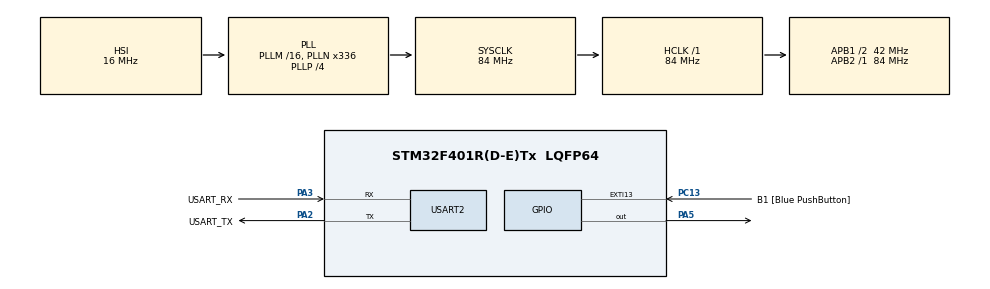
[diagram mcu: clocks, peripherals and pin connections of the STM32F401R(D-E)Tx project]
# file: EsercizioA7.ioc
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ADC1.Channel-0\#ChannelRegularConversion=ADC_CHANNEL_TEMPSENSOR
ADC1.DMAContinuousRequests=ENABLE
ADC1.ExternalTrigConv=ADC_EXTERNALTRIGCONV_T2_TRGO
ADC1.NbrOfConversion=1
ADC1.NbrOfConversionFlag=1
ADC1.Rank-0\#ChannelRegularConversion=1
ADC1.SamplingTime-0\#ChannelRegularConversion=ADC_SAMPLETIME_480CYCLES
ADC1.ScanConvMode=ENABLE
ADC1.master=1
Dma.ADC1.1.Direction=DMA_PERIPH_TO_MEMORY
Dma.ADC1.1.FIFOMode=DMA_FIFOMODE_DISABLE
Dma.ADC1.1.Instance=DMA2_Stream0
Dma.ADC1.1.MemDataAlignment=DMA_MDATAALIGN_HALFWORD
Dma.ADC1.1.MemInc=DMA_MINC_ENABLE
Dma.ADC1.1.Mode=DMA_CIRCULAR
Dma.ADC1.1.PeriphDataAlignment=DMA_PDATAALIGN_HALFWORD
Dma.ADC1.1.PeriphInc=DMA_PINC_DISABLE
Dma.ADC1.1.Priority=DMA_PRIORITY_HIGH
Dma.Request0=USART2_TX
Dma.Request1=ADC1
Dma.USART2_TX.0.Direction=DMA_MEMORY_TO_PERIPH
Dma.USART2_TX.0.FIFOMode=DMA_FIFOMODE_DISABLE
Dma.USART2_TX.0.Instance=DMA1_Stream6
Dma.USART2_TX.0.MemDataAlignment=DMA_MDATAALIGN_BYTE
Dma.USART2_TX.0.MemInc=DMA_MINC_ENABLE
Dma.USART2_TX.0.Mode=DMA_NORMAL
Dma.USART2_TX.0.PeriphDataAlignment=DMA_PDATAALIGN_BYTE
Dma.USART2_TX.0.PeriphInc=DMA_PINC_DISABLE
Dma.USART2_TX.0.Priority=DMA_PRIORITY_HIGH
Mcu.Family=STM32F4
Mcu.Name=STM32F401R(D-E)Tx
Mcu.Package=LQFP64
NVIC.DMA1_Stream6_IRQn=true\:0\:0\:false\:false\:true\:false\:true\:true
NVIC.DMA2_Stream0_IRQn=true\:0\:0\:false\:false\:true\:false\:true\:true
NVIC.PriorityGroup=NVIC_PRIORITYGROUP_4
NVIC.TIM2_IRQn=true\:0\:0\:false\:false\:true\:true\:true\:true
NVIC.TIM3_IRQn=true\:0\:0\:false\:false\:true\:true\:true\:true
NVIC.USART2_IRQn=true\:0\:0\:false\:false\:true\:true\:true\:true
PA1.Signal=ADCx_IN1
PA13.GPIO_Label=TMS
PA13.Mode=Trace_Asynchronous_SW
PA13.Signal=SYS_JTMS-SWDIO
PA14.GPIO_Label=TCK
PA14.Mode=Trace_Asynchronous_SW
PA14.Signal=SYS_JTCK-SWCLK
PA2.GPIO_Label=USART_TX
PA2.GPIO_Mode=GPIO_MODE_AF_PP
PA2.GPIO_PuPd=GPIO_NOPULL
PA2.GPIO_Speed=GPIO_SPEED_FREQ_LOW
PA2.Mode=Asynchronous
PA2.Signal=USART2_TX
PA3.GPIO_Label=USART_RX
PA3.GPIO_Mode=GPIO_MODE_AF_PP
PA3.GPIO_PuPd=GPIO_NOPULL
PA3.GPIO_Speed=GPIO_SPEED_FREQ_LOW
PA3.Mode=Asynchronous
PA3.Signal=USART2_RX
PA5.Signal=GPIO_Output
PB3.GPIO_Label=SWO
PB3.Mode=Trace_Asynchronous_SW
PB3.Signal=SYS_JTDO-SWO
PC13-ANTI_TAMP.GPIO_Label=B1 [Blue PushButton]
PC13-ANTI_TAMP.GPIO_ModeDefaultEXTI=GPIO_MODE_IT_FALLING
PC13-ANTI_TAMP.GPIO_PuPd=GPIO_NOPULL
PC13-ANTI_TAMP.Signal=GPXTI13
PC14-OSC32_IN.Mode=LSE-External-Oscillator
PC14-OSC32_IN.Signal=RCC_OSC32_IN
PC15-OSC32_OUT.Mode=LSE-External-Oscillator
PC15-OSC32_OUT.Signal=RCC_OSC32_OUT
PH0\ -\ OSC_IN.Mode=HSE-External-Clock-Source
PH0\ -\ OSC_IN.Signal=RCC_OSC_IN
PH1\ -\ OSC_OUT.Mode=HSE-External-Clock-Source
PH1\ -\ OSC_OUT.Signal=RCC_OSC_OUT
ProjectManager.HeapSize=0x200
ProjectManager.StackSize=0x400
ProjectManager.TargetToolchain=STM32CubeIDE
RCC.48MHZClocksFreq_Value=48000000
RCC.AHBFreq_Value=84000000
RCC.APB1CLKDivider=RCC_HCLK_DIV2
RCC.APB1Freq_Value=42000000
RCC.APB1TimFreq_Value=84000000
RCC.APB2Freq_Value=84000000
RCC.APB2TimFreq_Value=84000000
RCC.CortexFreq_Value=84000000
RCC.HCLKFreq_Value=84000000
RCC.HSE_VALUE=8000000
RCC.HSI_VALUE=16000000
RCC.PLLN=336
RCC.PLLP=RCC_PLLP_DIV4
RCC.PLLQ=7
RCC.SYSCLKFreq_VALUE=84000000
RCC.SYSCLKSource=RCC_SYSCLKSOURCE_PLLCLK
RCC.VCOOutputFreq_Value=336000000
SH.ADCx_IN1.0=ADC1_IN1
TIM2.Period=839999
TIM2.Prescaler=99
TIM2.TIM_MasterOutputTrigger=TIM_TRGO_UPDATE
TIM3.Period=8399
TIM3.Prescaler=9999
USART2.VirtualMode=VM_ASYNC
VP_ADC1_TempSens_Input.Mode=IN-TempSens
VP_TIM2_VS_ClockSourceINT.Mode=Internal
VP_TIM3_VS_ClockSourceINT.Mode=Internal
board=NUCLEO-F401RE

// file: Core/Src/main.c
/* USER CODE BEGIN Header */
/**
  ******************************************************************************
  * @file           : main.c
  * @brief          : Main program body
  ******************************************************************************
  * @attention
  *
  * Copyright (c) 2026 STMicroelectronics.
  * All rights reserved.
  *
  * This software is licensed under terms that can be found in the LICENSE file
  * in the root directory of this software component.
  * If no LICENSE file comes with this software, it is provided AS-IS.
  *
  ******************************************************************************
  */
/* USER CODE END Header */
#include "main.h"

/* USER CODE BEGIN Includes */
#include "stdio.h"
#include "string.h"

/* USER CODE END Includes */

ADC_HandleTypeDef hadc1;
DMA_HandleTypeDef hdma_adc1;

TIM_HandleTypeDef htim2;
TIM_HandleTypeDef htim3;

UART_HandleTypeDef huart2;
DMA_HandleTypeDef hdma_usart2_tx;

/* USER CODE BEGIN PV */
uint16_t adc_buf;

float v_temp_sense = 0.0f;
float temperature = 0.0f;

uint8_t tx_buf[64];
int len;

int counter=0;
float t_avg=0.0f;
int threshold=0;

/* USER CODE END PV */

void SystemClock_Config(void);
static void MX_GPIO_Init(void);
static void MX_DMA_Init(void);
static void MX_USART2_UART_Init(void);
static void MX_ADC1_Init(void);
static void MX_TIM2_Init(void);
static void MX_TIM3_Init(void);

/* USER CODE BEGIN 0 */
void HAL_ADC_ConvCpltCallback(ADC_HandleTypeDef *hadc)
{
    // Il Trigger (Timer 2 a 1Hz) avvia la conversione ogni secondo
	// Quando arriva l'EoC aggiorniamo i valori

	v_temp_sense = ((float)adc_buf * 3.3f) / 4095.0f;

	temperature = ((v_temp_sense - 0.76f) / 0.0025f) + 25.0f;

	t_avg+=temperature;
	counter++;

	if(counter==5){
		counter=0;
		t_avg=t_avg/5.0f;
		len = sprintf((char*)tx_buf, "Average: %.1fC\r\n", t_avg);
		HAL_UART_Transmit_DMA(&huart2, tx_buf, len);
		t_avg=0;
		if(temperature>(t_avg+0.5f)){
			threshold=1;
		}else{
			threshold=0;
			HAL_GPIO_WritePin(GPIOA, GPIO_PIN_5, GPIO_PIN_RESET);
		}

	}else{
		// E li inviamo
		len = sprintf((char*)tx_buf, "Temp: %.1fC\r\n", temperature);
		HAL_UART_Transmit_DMA(&huart2, tx_buf, len);
	}
}

void HAL_TIM_PeriodElapsedCallback(TIM_HandleTypeDef *htim)
{
    if (htim->Instance == TIM3) {
        if(threshold){
        	HAL_GPIO_TogglePin(GPIOA, GPIO_PIN_5);
        }
    }
}

/* USER CODE END 0 */

int main(void)
{

  /* MCU Configuration--------------------------------------------------------*/

  /* Reset of all peripherals, Initializes the Flash interface and the Systick. */
  HAL_Init();

  /* Configure the system clock */
  SystemClock_Config();

  /* Initialize all configured peripherals */
  MX_GPIO_Init();
  MX_DMA_Init();
  MX_USART2_UART_Init();
  MX_ADC1_Init();
  MX_TIM2_Init();
  MX_TIM3_Init();
  /* USER CODE BEGIN 2 */
  HAL_TIM_Base_Start(&htim2); // Timer 2 (Trigger ADC)
  HAL_ADC_Start_DMA(&hadc1, (uint32_t*)&adc_buf, 1);   // ADC (DMA Mode), buffer da 1 campione
  HAL_TIM_Base_Start_IT(&htim3); // Timer 3 (Toggle Led)

  /* USER CODE END 2 */

  /* Infinite loop */
  while (1)
  {

  }
}

void SystemClock_Config(void)
{
  RCC_OscInitTypeDef RCC_OscInitStruct = {0};
  RCC_ClkInitTypeDef RCC_ClkInitStruct = {0};

  /** Configure the main internal regulator output voltage
  */
  __HAL_RCC_PWR_CLK_ENABLE();
  __HAL_PWR_VOLTAGESCALING_CONFIG(PWR_REGULATOR_VOLTAGE_SCALE2);

  /** Initializes the RCC Oscillators according to the specified parameters
  * in the RCC_OscInitTypeDef structure.
  */
  RCC_OscInitStruct.OscillatorType = RCC_OSCILLATORTYPE_HSI;
  RCC_OscInitStruct.HSIState = RCC_HSI_ON;
  RCC_OscInitStruct.HSICalibrationValue = RCC_HSICALIBRATION_DEFAULT;
  RCC_OscInitStruct.PLL.PLLState = RCC_PLL_ON;
  RCC_OscInitStruct.PLL.PLLSource = RCC_PLLSOURCE_HSI;
  RCC_OscInitStruct.PLL.PLLM = 16;
  RCC_OscInitStruct.PLL.PLLN = 336;
  RCC_OscInitStruct.PLL.PLLP = RCC_PLLP_DIV4;
  RCC_OscInitStruct.PLL.PLLQ = 7;
  if (HAL_RCC_OscConfig(&RCC_OscInitStruct) != HAL_OK)
  {
    Error_Handler();
  }

  /** Initializes the CPU, AHB and APB buses clocks
  */
  RCC_ClkInitStruct.ClockType = RCC_CLOCKTYPE_HCLK|RCC_CLOCKTYPE_SYSCLK
                              |RCC_CLOCKTYPE_PCLK1|RCC_CLOCKTYPE_PCLK2;
  RCC_ClkInitStruct.SYSCLKSource = RCC_SYSCLKSOURCE_PLLCLK;
  RCC_ClkInitStruct.AHBCLKDivider = RCC_SYSCLK_DIV1;
  RCC_ClkInitStruct.APB1CLKDivider = RCC_HCLK_DIV2;
  RCC_ClkInitStruct.APB2CLKDivider = RCC_HCLK_DIV1;

  if (HAL_RCC_ClockConfig(&RCC_ClkInitStruct, FLASH_LATENCY_2) != HAL_OK)
  {
    Error_Handler();
  }
}

static void MX_ADC1_Init(void)
{

  ADC_ChannelConfTypeDef sConfig = {0};

  /** Configure the global features of the ADC (Clock, Resolution, Data Alignment and number of conversion)
  */
  hadc1.Instance = ADC1;
  hadc1.Init.ClockPrescaler = ADC_CLOCK_SYNC_PCLK_DIV4;
  hadc1.Init.Resolution = ADC_RESOLUTION_12B;
  hadc1.Init.ScanConvMode = ENABLE;
  hadc1.Init.ContinuousConvMode = DISABLE;
  hadc1.Init.DiscontinuousConvMode = DISABLE;
  hadc1.Init.ExternalTrigConvEdge = ADC_EXTERNALTRIGCONVEDGE_RISING;
  hadc1.Init.ExternalTrigConv = ADC_EXTERNALTRIGCONV_T2_TRGO;
  hadc1.Init.DataAlign = ADC_DATAALIGN_RIGHT;
  hadc1.Init.NbrOfConversion = 1;
  hadc1.Init.DMAContinuousRequests = ENABLE;
  hadc1.Init.EOCSelection = ADC_EOC_SINGLE_CONV;
  if (HAL_ADC_Init(&hadc1) != HAL_OK)
  {
    Error_Handler();
  }

  /** Configure for the selected ADC regular channel its corresponding rank in the sequencer and its sample time.
  */
  sConfig.Channel = ADC_CHANNEL_TEMPSENSOR;
  sConfig.Rank = 1;
  sConfig.SamplingTime = ADC_SAMPLETIME_480CYCLES;
  if (HAL_ADC_ConfigChannel(&hadc1, &sConfig) != HAL_OK)
  {
    Error_Handler();
  }

}

static void MX_TIM2_Init(void)
{

  TIM_ClockConfigTypeDef sClockSourceConfig = {0};
  TIM_MasterConfigTypeDef sMasterConfig = {0};

  htim2.Instance = TIM2;
  htim2.Init.Prescaler = 99;
  htim2.Init.CounterMode = TIM_COUNTERMODE_UP;
  htim2.Init.Period = 839999;
  htim2.Init.ClockDivision = TIM_CLOCKDIVISION_DIV1;
  htim2.Init.AutoReloadPreload = TIM_AUTORELOAD_PRELOAD_DISABLE;
  if (HAL_TIM_Base_Init(&htim2) != HAL_OK)
  {
    Error_Handler();
  }
  sClockSourceConfig.ClockSource = TIM_CLOCKSOURCE_INTERNAL;
  if (HAL_TIM_ConfigClockSource(&htim2, &sClockSourceConfig) != HAL_OK)
  {
    Error_Handler();
  }
  sMasterConfig.MasterOutputTrigger = TIM_TRGO_UPDATE;
  sMasterConfig.MasterSlaveMode = TIM_MASTERSLAVEMODE_DISABLE;
  if (HAL_TIMEx_MasterConfigSynchronization(&htim2, &sMasterConfig) != HAL_OK)
  {
    Error_Handler();
  }

}

static void MX_TIM3_Init(void)
{

  TIM_ClockConfigTypeDef sClockSourceConfig = {0};
  TIM_MasterConfigTypeDef sMasterConfig = {0};

  htim3.Instance = TIM3;
  htim3.Init.Prescaler = 9999;
  htim3.Init.CounterMode = TIM_COUNTERMODE_UP;
  htim3.Init.Period = 8399;
  htim3.Init.ClockDivision = TIM_CLOCKDIVISION_DIV1;
  htim3.Init.AutoReloadPreload = TIM_AUTORELOAD_PRELOAD_DISABLE;
  if (HAL_TIM_Base_Init(&htim3) != HAL_OK)
  {
    Error_Handler();
  }
  sClockSourceConfig.ClockSource = TIM_CLOCKSOURCE_INTERNAL;
  if (HAL_TIM_ConfigClockSource(&htim3, &sClockSourceConfig) != HAL_OK)
  {
    Error_Handler();
  }
  sMasterConfig.MasterOutputTrigger = TIM_TRGO_RESET;
  sMasterConfig.MasterSlaveMode = TIM_MASTERSLAVEMODE_DISABLE;
  if (HAL_TIMEx_MasterConfigSynchronization(&htim3, &sMasterConfig) != HAL_OK)
  {
    Error_Handler();
  }

}

static void MX_USART2_UART_Init(void)
{

  huart2.Instance = USART2;
  huart2.Init.BaudRate = 115200;
  huart2.Init.WordLength = UART_WORDLENGTH_8B;
  huart2.Init.StopBits = UART_STOPBITS_1;
  huart2.Init.Parity = UART_PARITY_NONE;
  huart2.Init.Mode = UART_MODE_TX_RX;
  huart2.Init.HwFlowCtl = UART_HWCONTROL_NONE;
  huart2.Init.OverSampling = UART_OVERSAMPLING_16;
  if (HAL_UART_Init(&huart2) != HAL_OK)
  {
    Error_Handler();
  }

}

static void MX_DMA_Init(void)
{

  /* DMA controller clock enable */
  __HAL_RCC_DMA1_CLK_ENABLE();
  __HAL_RCC_DMA2_CLK_ENABLE();

  /* DMA interrupt init */
  /* DMA1_Stream6_IRQn interrupt configuration */
  HAL_NVIC_SetPriority(DMA1_Stream6_IRQn, 0, 0);
  HAL_NVIC_EnableIRQ(DMA1_Stream6_IRQn);
  /* DMA2_Stream0_IRQn interrupt configuration */
  HAL_NVIC_SetPriority(DMA2_Stream0_IRQn, 0, 0);
  HAL_NVIC_EnableIRQ(DMA2_Stream0_IRQn);

}

static void MX_GPIO_Init(void)
{
  GPIO_InitTypeDef GPIO_InitStruct = {0};

  /* GPIO Ports Clock Enable */
  __HAL_RCC_GPIOC_CLK_ENABLE();
  __HAL_RCC_GPIOH_CLK_ENABLE();
  __HAL_RCC_GPIOA_CLK_ENABLE();
  __HAL_RCC_GPIOB_CLK_ENABLE();

  /*Configure GPIO pin Output Level */
  HAL_GPIO_WritePin(GPIOA, GPIO_PIN_5, GPIO_PIN_RESET);

  /*Configure GPIO pin : B1_Pin */
  GPIO_InitStruct.Pin = B1_Pin;
  GPIO_InitStruct.Mode = GPIO_MODE_IT_FALLING;
  GPIO_InitStruct.Pull = GPIO_NOPULL;
  HAL_GPIO_Init(B1_GPIO_Port, &GPIO_InitStruct);

  /*Configure GPIO pin : PA5 */
  GPIO_InitStruct.Pin = GPIO_PIN_5;
  GPIO_InitStruct.Mode = GPIO_MODE_OUTPUT_PP;
  GPIO_InitStruct.Pull = GPIO_NOPULL;
  GPIO_InitStruct.Speed = GPIO_SPEED_FREQ_LOW;
  HAL_GPIO_Init(GPIOA, &GPIO_InitStruct);

}

void Error_Handler(void)
{
  __disable_irq();
  while (1)
  {
  }
}
